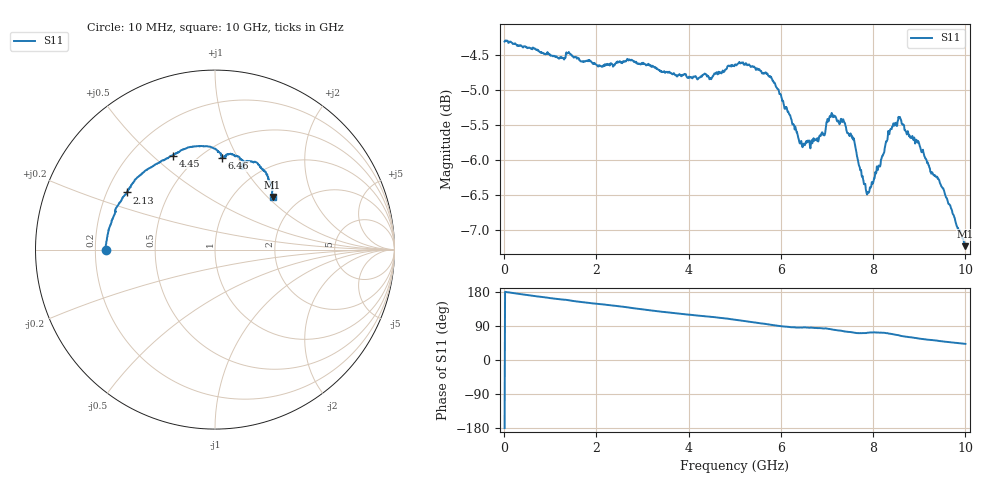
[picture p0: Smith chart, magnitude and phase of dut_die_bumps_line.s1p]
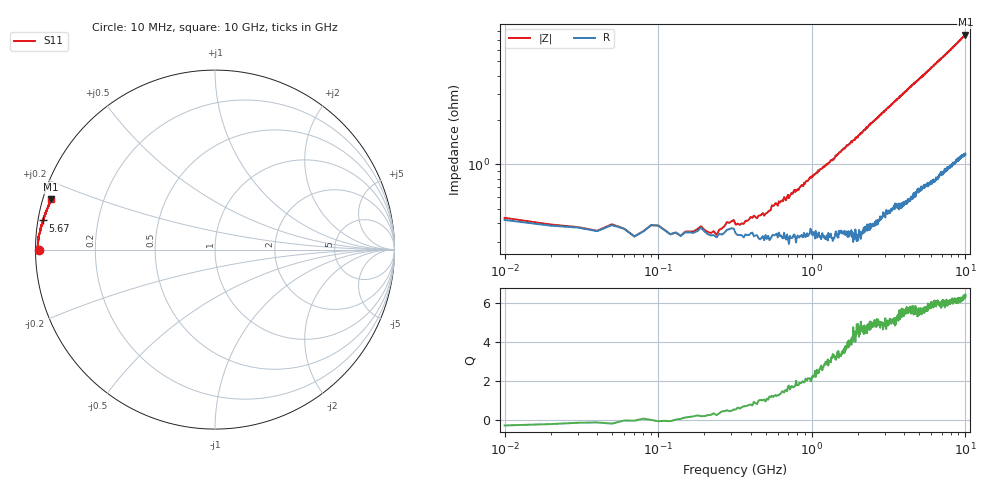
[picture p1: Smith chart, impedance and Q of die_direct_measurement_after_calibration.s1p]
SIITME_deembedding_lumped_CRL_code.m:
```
close ; clear ; clc

Ztotal = zparameters('\\icnas-op01.campus.tue.nl\IC_Staff_PhD_MSc\Projects_BEP\Daniel_Tyukov\tue_bep_daniel_1819283\s_params_and_scripts\dut_die_bumps_line.s1p');
Zdie = zparameters('\\icnas-op01.campus.tue.nl\IC_Staff_PhD_MSc\Projects_BEP\Daniel_Tyukov\tue_bep_daniel_1819283\s_params_and_scripts\die_direct_measurement_after_calibration.s1p');

%% De-embed CPW
% Find Zseries and Zparallel of CPW
Zopen = zparameters('\\icnas-op01.campus.tue.nl\IC_Staff_PhD_MSc\Projects_BEP\Daniel_Tyukov\tue_bep_daniel_1819283\s_params_and_scripts\open_line.s1p');
Zshort = zparameters('\\icnas-op01.campus.tue.nl\IC_Staff_PhD_MSc\Projects_BEP\Daniel_Tyukov\tue_bep_daniel_1819283\s_params_and_scripts\short_line.s1p');

Zs = Zshort.Parameters;
Zp = Zopen.Parameters - Zs;
% Remove Zseries
Z = Ztotal.Parameters- Zs;
% Remove Yparallel
Z = y2z(z2y(Z) - z2y(Zp));

%% Assume 10 MHz is DC
% R = abs(Z(1) - Zdie.Parameters(1)); % contains imaginary component

%% Fit parameters

f = Ztotal.Frequencies;
s = permute(1i*2*pi*f, [3 2 1]);

% --- Define the model function ---
% params = [Rs Ls Cp]
params_fixed = [5.18 NaN NaN];
crl_impedance = @(params, s) (1./(params_fixed(1) + params(2)*s + Zdie.Parameters) + s*params(3)).^-1;

% --- Define the error function ---
impedance_error = @(params) sum(abs(crl_impedance(params, s) - Z).^2);

% --- Initial guess for [R, L, C] ---
initial_guess = [5, 1e-9, 1e-15];  % Adjust based on expected values

% --- Optimization ---
options = optimset('Display', 'off', 'TolFun',1e-24,'TolX',1e-24);
opt_params = fminsearch(impedance_error, initial_guess, options);

% --- Display results ---
fprintf('Optimal C1: %.3g F\n', opt_params(3)/2);
fprintf('Fixed R: %.3g Ohm\n', params_fixed(1)/1.5);
fprintf('Optimal L: %.3g H\n', opt_params(2)/1.5);

% --- Plot comparison ---
Z_fit = crl_impedance(opt_params, s);

figure;
subplot(2,1,1)
hold on
plot(f, abs(permute(Z, [3 2 1])), 'b')
plot(f, abs(permute(Z_fit, [3 2 1])), 'r--')
hold off
xlabel('Frequency (Hz)')
ylabel('|Z| (Ohms)')
legend('Measured SP', 'Fitted', 'Location','northwest')
title('Magnitude of Impedance')
% set(gca, 'Xscale', 'log')

subplot(2,1,2)
hold on
plot(f, angle(permute(Z, [3 2 1]))/pi*180, 'b')
plot(f, angle(permute(Z_fit, [3 2 1]))/pi*180, 'r--')
hold off
xlabel('Frequency (Hz)')
ylabel('Phase (degrees)')
legend('Measured PS', 'Fitted', 'Location','south')
title('Phase of Impedance')
% set(gca, 'Xscale', 'log')

S_fit = z2s(Z_fit);
S = z2s(Z);
figure;
subplot(2,1,1)
hold on
plot(f, abs(permute(S, [3 2 1])), 'b')
plot(f, abs(permute(S_fit, [3 2 1])), 'r--')
hold off
xlabel('Frequency (Hz)')
ylabel('S11 (dB)')
legend('Measured SP', 'Fitted', 'Location','northwest')
title('Magnitude of Impedance')
% set(gca, 'Xscale', 'log')

subplot(2,1,2)
hold on
plot(f, angle(permute(S, [3 2 1]))/pi*180, 'b')
plot(f, angle(permute(S_fit, [3 2 1]))/pi*180, 'r--')
hold off
xlabel('Frequency (Hz)')
ylabel('Phase (degrees)')
legend('Measured PS', 'Fitted', 'Location','south')
title('Phase of Impedance')
% set(gca, 'Xscale', 'log')
```
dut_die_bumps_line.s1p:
!Keysight Technologies,N5247B,MY60213743,A.16.20.04
!Date: Thursday, June 05, 2025 15:18:02
!Correction: S11(C  1-Port  )
!S1P File: Measurement: S11:
# Hz S  RI  R 50
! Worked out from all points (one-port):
!   1000 points, 10 MHz to 10 GHz, reference 50 ohm
!   lowest |S11| = -7.2 dB at 10 GHz (marker M1), VSWR 2.54, Z = 74 + j53.6 ohm
!   |S11| at or under -10 dB: nowhere
!   S11 on the Smith chart (normalised r, x): 10 MHz: 0.24, -0.00; 2.13 GHz: 0.28, +0.27; 4.45 GHz: 0.38, +0.58; 6.46 GHz: 0.62, +0.86; 10 GHz: 1.48, +1.07
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1e7  -0.6092 -0.0026
2.13e9  -0.4902 0.3186
3.34e9  -0.3617 0.4556
4.45e9  -0.2319 0.5234
5.52e9  -0.0775 0.5772
6.46e9  0.0397 0.5109
6.67e9  0.0439 0.516
7.14e9  0.0946 0.5306
7.63e9  0.1647 0.4821
7.89e9  0.147 0.4523
8.21e9  0.1573 0.4796
8.53e9  0.2161 0.4884
9.12e9  0.2917 0.4107
1e10  0.3204 0.294
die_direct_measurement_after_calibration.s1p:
!Keysight Technologies,N5247B,MY60213743,A.16.20.04
!Date: Wednesday, June 04, 2025 17:01:59
!Correction: S11(C  1-Port  )
!S1P File: Measurement: S11:
# Hz S  RI  R 50
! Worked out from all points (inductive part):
!   1000 points, 10 MHz to 10 GHz, reference 50 ohm
!   read as one part to ground: L = 121 pH near 1.23 GHz
!   highest Q = 6.44 at 10 GHz (marker M1), where L = 119 pH
!   S11 on the Smith chart (normalised r, x): 10 MHz: 0.01, -0.00; 5.67 GHz: 0.01, +0.08; 10 GHz: 0.02, +0.15
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1e7  -0.9833 -0.00429
1.2e8  -0.9866 -0.000538
4.9e8  -0.9877 0.013
1.1e9  -0.9861 0.0335
1.99e9  -0.9853 0.0595
2.42e9  -0.9826 0.0737
3.34e9  -0.9754 0.0993
3.86e9  -0.9729 0.1136
4.54e9  -0.9678 0.1334
4.88e9  -0.9631 0.1404
5.67e9  -0.9579 0.1624
6.67e9  -0.9494 0.19
7.95e9  -0.9363 0.2231
1e10  -0.9135 0.2801
